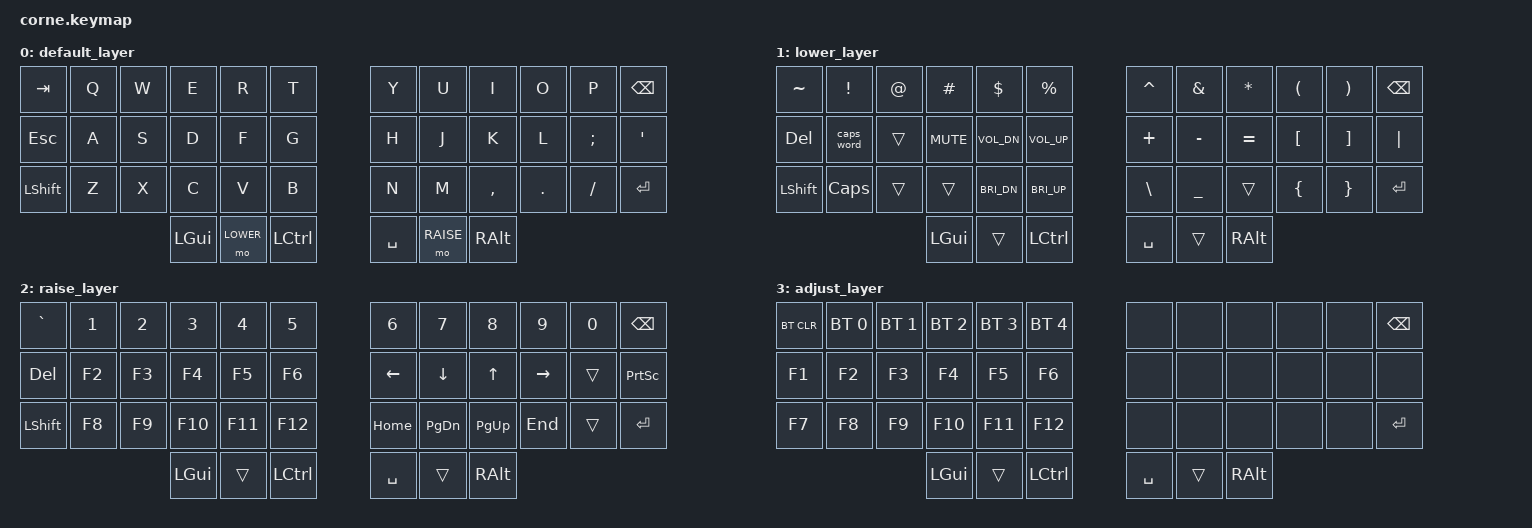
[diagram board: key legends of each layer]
/*
 * Copyright (c) 2024 Luke Marzen
 *
 * SPDX-License-Identifier: MIT
 */

#include <behaviors.dtsi>
#include <dt-bindings/zmk/keys.h>
#include <dt-bindings/zmk/bt.h>

#define DEFAULT 0
#define LOWER   1
#define RAISE   2
#define ADJUST  3

/ {
    conditional_layers {
        compatible = "zmk,conditional-layers";
        tri_layer {
            if-layers = <LOWER RAISE>;
            then-layer = <ADJUST>;
        };
    };
};

&caps_word {
    continue-list = <UNDERSCORE MINUS BACKSPACE>;
};

/ {
        keymap {
                compatible = "zmk,keymap";

                default_layer {
// -----------------------------------------------------------------------------------------
// | TAB |  Q  |  W  |  E  |  R  |  T  |   |  Y  |  U  |  I  |  O  |  P  | BSPC|
// | ESC |  A  |  S  |  D  |  F  |  G  |   |  H  |  J  |  K  |  L  |  ;  |  '  |
// |SHFT |  Z  |  X  |  C  |  V  |  B  |   |  N  |  M  |  ,  |  .  |  /  | ENT |
//                   |SUPER| LWR |CTRL |   | SPC | RSE | ALT |
                        bindings = <
   &kp TAB    &kp Q  &kp W  &kp E  &kp R  &kp T    &kp Y  &kp U  &kp I      &kp O    &kp P     &kp BSPC
   &kp ESC    &kp A  &kp S  &kp D  &kp F  &kp G    &kp H  &kp J  &kp K      &kp L    &kp SEMI  &kp SQT
   &kp LSHFT  &kp Z  &kp X  &kp C  &kp V  &kp B    &kp N  &kp M  &kp COMMA  &kp DOT  &kp FSLH  &kp RET
                 &kp LGUI  &mo LOWER  &kp LCTRL    &kp SPACE  &mo RAISE  &kp RALT
                        >;
                };

                lower_layer {
// -----------------------------------------------------------------------------------------
// |TILDE|  !  |  @  |  #  |  $  |  %  |   |  ^  |  &  |  *  |  (  |  )  | BSPC|
// | DEL |CAPWD|     |VMUTE| VDN | VUP |   |  +  |  -  |  =  |  [  |  ]  | '|' |
// |SHFT |CAPLK|     |     |BRTDN|BRTUP|   |  \  |  _  |     |  {  |  }  | ENT |
//                   |SUPER| LWR |CTRL |   | SPC | RSE | ALT |
                        bindings = <
   &kp TILDE  &kp EXCL    &kp AT  &kp HASH    &kp DLLR      &kp PRCNT       &kp CARET  &kp AMPS   &kp ASTRK  &kp LPAR  &kp RPAR  &kp BSPC
   &kp DEL    &caps_word  &trans  &kp C_MUTE  &kp C_VOL_DN  &kp C_VOL_UP    &kp PLUS   &kp MINUS  &kp EQUAL  &kp LBKT  &kp RBKT  &kp PIPE
   &kp LSHFT  &kp CAPS    &trans  &trans      &kp C_BRI_DN  &kp C_BRI_UP    &kp BSLH   &kp UNDER  &trans     &kp LBRC  &kp RBRC  &kp RET
                                             &kp LGUI  &trans  &kp LCTRL    &kp SPACE  &trans  &kp RALT
                        >;
                };

                raise_layer {
// -----------------------------------------------------------------------------------------
// |GRAVE|  1  |  2  |  3  |  4  |  5  |   |  6  |  7  |  8  |  9  |  0  | BSPC|
// | DEL | F2  | F3  | F4  | F5  | F6  |   | LFT | DN  |  UP | RGT |     |PNTSN|
// |SHFT | F8  | F9  | F10 | F11 | F12 |   | HOME| PGDN| PGUP| END |     | ENT |
//                   |SUPER| LWR |CTRL |   | SPC | RSE | ALT |
                        bindings = <
   &kp GRAVE  &kp N1  &kp N2  &kp N3   &kp N4   &kp N5     &kp N6    &kp N7     &kp N8     &kp N9     &kp N0  &kp BSPC
   &kp DEL    &kp F2  &kp F3  &kp F4   &kp F5   &kp F6     &kp LEFT  &kp DOWN   &kp UP     &kp RIGHT  &trans  &kp PSCRN
   &kp LSHFT  &kp F8  &kp F9  &kp F10  &kp F11  &kp F12    &kp HOME  &kp PG_DN  &kp PG_UP  &kp END    &trans  &kp RET
                            &kp LGUI  &trans  &kp LCTRL    &kp SPACE  &trans  &kp RALT
                        >;
                };

                adjust_layer {
// -----------------------------------------------------------------------------------------
// |BTCLR| BT1 | BT2 | BT3 | BT4 | BT5 |   |     |     |     |     |     | BSPC|
// | F1  | F2  | F3  | F4  | F5  | F6  |   |     |     |     |     |     |     |
// | F7  | F8  | F9  | F10 | F11 | F12 |   |     |     |     |     |     | ENT |
//                   |SUPER| LWR |CTRL |   | SPC | RSE | ALT |
                        bindings = <
   &bt BT_CLR  &bt BT_SEL 0 &bt BT_SEL 1 &bt BT_SEL 2 &bt BT_SEL 3 &bt BT_SEL 4    &none  &none  &none  &none  &none  &kp BSPC
   &kp F1      &kp F2       &kp F3       &kp F4       &kp F5       &kp F6          &none  &none  &none  &none  &none  &none
   &kp F7      &kp F8       &kp F9       &kp F10      &kp F11      &kp F12         &none  &none  &none  &none  &none  &kp RET
                                                    &kp LGUI  &trans  &kp LCTRL    &kp SPACE  &trans  &kp RALT
                        >;
                };


        };
};
